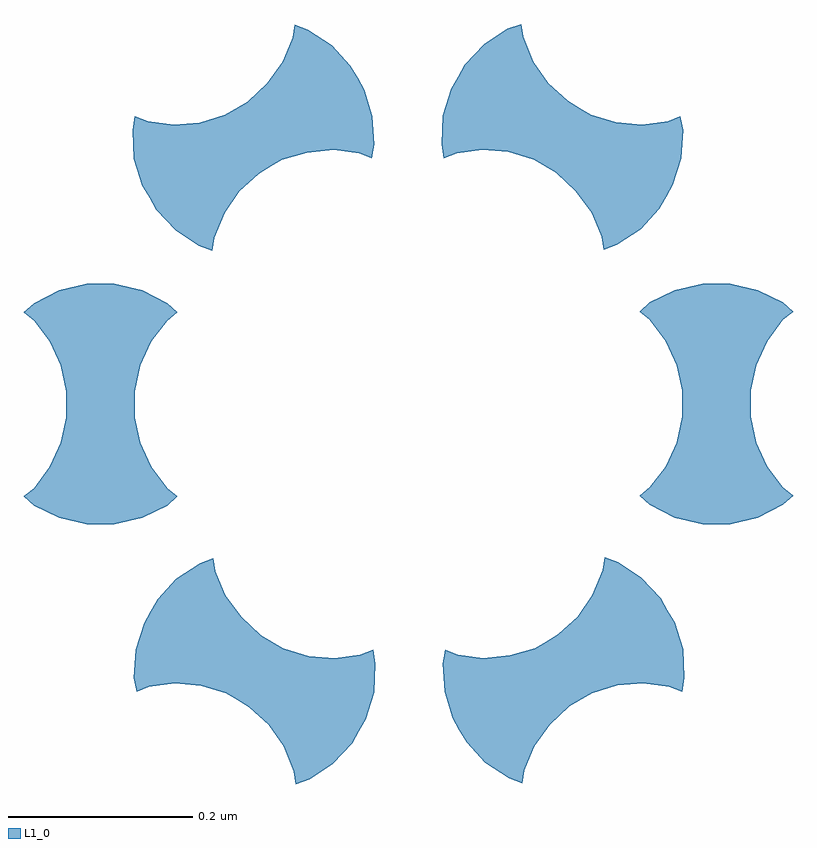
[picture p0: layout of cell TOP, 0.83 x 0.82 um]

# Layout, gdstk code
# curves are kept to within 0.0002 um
import gdstk
lib = gdstk.Library(unit=1e-6, precision=1e-09)
def P(c, l, *ps):  # polygons
    for p in ps: c.add(gdstk.Polygon(p, *l))
L1_0 = (1, 0)

top = lib.new_cell('TOP')
P(top, L1_0, [(-0.212,0.166),(-0.227,0.171),(-0.252,0.188),(-0.273,0.21),(-0.28,0.223),(-0.288,0.236),(-0.297,0.265),(-0.298,0.296),(-0.296,0.311),(-0.282,0.306),(-0.254,0.302),(-0.226,0.304),(-0.198,0.313),(-0.174,0.327),(-0.153,0.347),(-0.136,0.37),(-0.125,0.396),(-0.123,0.41),(-0.109,0.405),(-0.083,0.388),(-0.063,0.366),(-0.055,0.353),(-0.048,0.34),(-0.039,0.311),(-0.037,0.281),(-0.04,0.266),(-0.053,0.271),(-0.081,0.275),(-0.11,0.272),(-0.137,0.264),(-0.162,0.249),(-0.183,0.23),(-0.199,0.207),(-0.21,0.18)],
  [(-0.348,-0.13),(-0.378,-0.123),(-0.405,-0.11),(-0.416,-0.1),(-0.405,-0.091),(-0.388,-0.068),(-0.376,-0.042),(-0.37,-0.015),(-0.37,0.014),(-0.376,0.042),(-0.388,0.068),(-0.405,0.09),(-0.416,0.099),(-0.405,0.109),(-0.378,0.123),(-0.348,0.13),(-0.318,0.13),(-0.288,0.123),(-0.261,0.109),(-0.25,0.099),(-0.261,0.09),(-0.278,0.068),(-0.29,0.042),(-0.296,0.014),(-0.296,-0.015),(-0.29,-0.042),(-0.278,-0.068),(-0.261,-0.091),(-0.25,-0.1),(-0.261,-0.11),(-0.288,-0.123),(-0.318,-0.13)],
  [(-0.122,-0.411),(-0.124,-0.397),(-0.135,-0.37),(-0.151,-0.347),(-0.172,-0.328),(-0.197,-0.313),(-0.224,-0.305),(-0.253,-0.302),(-0.281,-0.306),(-0.294,-0.311),(-0.297,-0.296),(-0.295,-0.266),(-0.286,-0.237),(-0.279,-0.224),(-0.271,-0.211),(-0.251,-0.189),(-0.225,-0.172),(-0.211,-0.167),(-0.209,-0.181),(-0.198,-0.207),(-0.181,-0.23),(-0.16,-0.25),(-0.136,-0.264),(-0.108,-0.273),(-0.08,-0.275),(-0.052,-0.271),(-0.038,-0.266),(-0.036,-0.281),(-0.037,-0.312),(-0.046,-0.341),(-0.054,-0.354),(-0.061,-0.367),(-0.082,-0.389),(-0.107,-0.406)],
  [(0.123,-0.41),(0.109,-0.405),(0.083,-0.388),(0.063,-0.366),(0.055,-0.353),(0.048,-0.34),(0.039,-0.311),(0.037,-0.281),(0.04,-0.266),(0.053,-0.271),(0.081,-0.275),(0.11,-0.272),(0.137,-0.264),(0.162,-0.249),(0.183,-0.23),(0.199,-0.207),(0.21,-0.18),(0.212,-0.166),(0.227,-0.171),(0.252,-0.188),(0.273,-0.21),(0.28,-0.223),(0.288,-0.236),(0.297,-0.265),(0.298,-0.296),(0.296,-0.311),(0.282,-0.306),(0.254,-0.302),(0.226,-0.304),(0.198,-0.313),(0.174,-0.327),(0.153,-0.347),(0.136,-0.37),(0.125,-0.396)],
  [(0.318,-0.13),(0.288,-0.123),(0.261,-0.109),(0.25,-0.099),(0.261,-0.09),(0.278,-0.068),(0.29,-0.042),(0.296,-0.014),(0.296,0.015),(0.29,0.042),(0.278,0.068),(0.261,0.091),(0.25,0.1),(0.261,0.11),(0.288,0.123),(0.318,0.13),(0.348,0.13),(0.378,0.123),(0.405,0.11),(0.416,0.1),(0.405,0.091),(0.388,0.068),(0.376,0.042),(0.37,0.015),(0.37,-0.014),(0.376,-0.042),(0.388,-0.068),(0.405,-0.09),(0.416,-0.099),(0.405,-0.109),(0.378,-0.123),(0.348,-0.13)],
  [(0.211,0.167),(0.209,0.181),(0.198,0.207),(0.181,0.23),(0.16,0.25),(0.136,0.264),(0.108,0.273),(0.08,0.275),(0.052,0.271),(0.038,0.266),(0.036,0.281),(0.037,0.312),(0.046,0.341),(0.054,0.354),(0.061,0.367),(0.082,0.389),(0.107,0.406),(0.122,0.411),(0.124,0.397),(0.135,0.37),(0.151,0.347),(0.172,0.328),(0.197,0.313),(0.224,0.305),(0.253,0.302),(0.281,0.306),(0.294,0.311),(0.297,0.296),(0.295,0.266),(0.286,0.237),(0.279,0.224),(0.271,0.211),(0.251,0.189),(0.225,0.172)])

lib.write_gds('TOP.gds')
